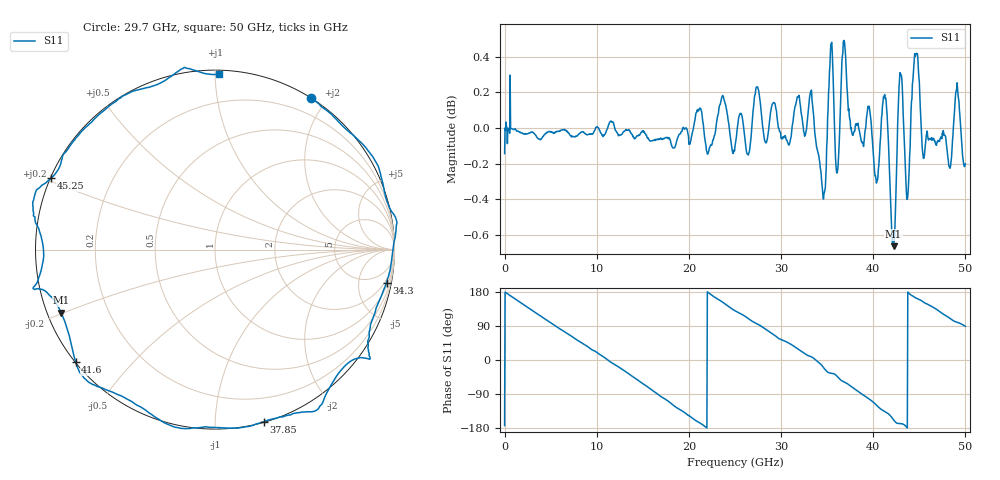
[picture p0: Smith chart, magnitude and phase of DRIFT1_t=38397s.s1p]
!Created with skrf (http://scikit-rf.org).
# Hz S RI R 50.0
!freq ReS11 ImS11
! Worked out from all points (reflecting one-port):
!   1001 points, 300 kHz to 50 GHz, reference 50 ohm
!   lowest |S11| = -0.7 dB at 42.2 GHz (marker M1), VSWR 26.17, Z = 1.98 - j9.85 ohm
!   phase of S11 starts at -173 deg and turns -818 deg over the sweep
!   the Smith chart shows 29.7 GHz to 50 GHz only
!   S11 on the Smith chart (normalised r, x): 29.7 GHz: -0.00, +1.82; 34.3 GHz: 1, -10; 37.85 GHz: 0.00, -1.32; 41.6 GHz: 0.00, -0.35; 45.25 GHz: 0.00, +0.21; 50 GHz: 0.02, +1.02
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300000  -0.9766 -0.1172
1.450291e9  -0.9125 0.4044
3.25028e9  -0.5922 0.8009
6.250262e9  0.201 0.9785
9.500243e9  0.8919 0.4436
1.250022e10  0.9324 -0.3483
1.580021e10  0.2401 -0.962
1.73502e10  -0.2085 -0.9712
1.875019e10  -0.5968 -0.7941
2.150017e10  -0.9922 -0.1558
2.350016e10  -0.9246 0.4266
2.500015e10  -0.6341 0.758
2.740014e10  -0.098 1.022
2.970012e10  0.5357 0.8447
3.125011e10  0.7855 0.6235
3.31001e10  1.004 0.1831
3.430009e10  0.9556 -0.1839
3.520009e10  0.8555 -0.5682
3.750008e10  0.3746 -0.9326
3.785007e10  0.2719 -0.9586
3.955006e10  -0.2212 -0.9899
4.160005e10  -0.7769 -0.6254
4.220005e10  -0.857 -0.3519
4.290004e10  -1.013 -0.2183
4.375004e10  -0.957 0.0125
4.525003e10  -0.9113 0.3997
4.770001e10  -0.493 0.8651
5e10  0.0218 0.9769
